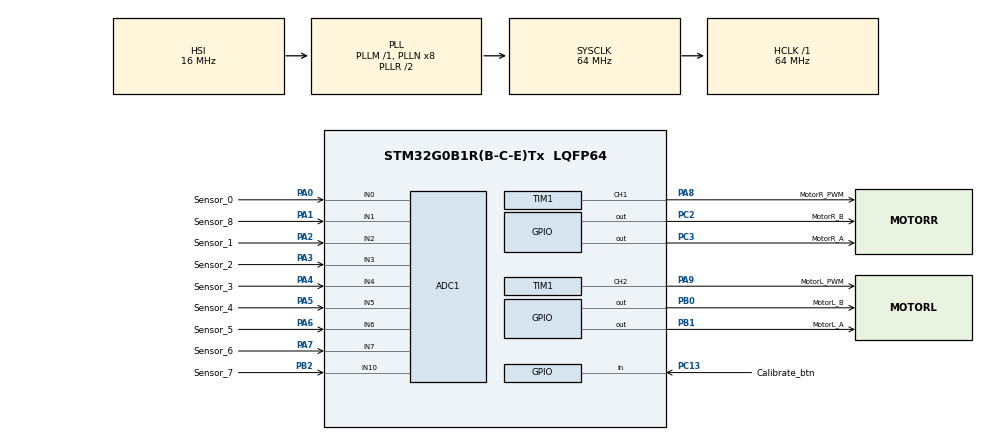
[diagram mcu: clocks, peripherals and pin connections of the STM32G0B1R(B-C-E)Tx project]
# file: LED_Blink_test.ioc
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ADC1.Channel-1\#ChannelRegularConversion=ADC_CHANNEL_0
ADC1.NbrOfConversion=1
ADC1.NbrOfConversionFlag=1
ADC1.Rank-1\#ChannelRegularConversion=1
ADC1.SamplingTime-1\#ChannelRegularConversion=ADC_SAMPLINGTIME_COMMON_1
ADC1.SelectedChannel=ADC_CHANNEL_0|ADC_CHANNEL_1|ADC_CHANNEL_2|ADC_CHANNEL_3|ADC_CHANNEL_4|ADC_CHANNEL_5|ADC_CHANNEL_6|ADC_CHANNEL_7|ADC_CHANNEL_10
ADC1.Sequencer=FULLY_CONFIGURABLE
ADC1.master=1
Mcu.Family=STM32G0
Mcu.Name=STM32G0B1R(B-C-E)Tx
Mcu.Package=LQFP64
NVIC.TIM3_TIM4_IRQn=true\:0\:0\:false\:false\:true\:true\:true\:true
PA0.GPIO_Label=Sensor_0
PA0.Mode=IN0
PA0.Signal=ADC1_IN0
PA1.GPIO_Label=Sensor_8
PA1.Mode=IN1
PA1.Signal=ADC1_IN1
PA13.GPIO_Label=TMS
PA13.Mode=Serial_Wire
PA13.Signal=SYS_SWDIO
PA14-BOOT0.GPIO_Label=TCK
PA14-BOOT0.Mode=Serial_Wire
PA14-BOOT0.Signal=SYS_SWCLK
PA2.GPIO_Label=Sensor_1
PA2.Mode=IN2
PA2.Signal=ADC1_IN2
PA3.GPIO_Label=Sensor_2
PA3.Mode=IN3
PA3.Signal=ADC1_IN3
PA4.GPIO_Label=Sensor_3
PA4.Mode=IN4
PA4.Signal=ADC1_IN4
PA5.GPIO_Label=Sensor_4
PA5.Mode=IN5
PA5.Signal=ADC1_IN5
PA6.GPIO_Label=Sensor_5
PA6.Mode=IN6
PA6.Signal=ADC1_IN6
PA7.GPIO_Label=Sensor_6
PA7.Mode=IN7
PA7.Signal=ADC1_IN7
PA8.GPIO_Label=MotorR_PWM
PA8.Signal=S_TIM1_CH1
PA9.GPIO_Label=MotorL_PWM
PA9.Signal=S_TIM1_CH2
PB0.GPIO_Label=MotorL_B
PB0.Signal=GPIO_Output
PB1.GPIO_Label=MotorL_A
PB1.Signal=GPIO_Output
PB2.GPIO_Label=Sensor_7
PB2.Mode=IN10
PB2.Signal=ADC1_IN10
PC13.GPIO_Label=Calibrate_btn
PC13.GPIO_PuPd=GPIO_PULLUP
PC13.Signal=GPIO_Input
PC14-OSC32_IN\ (PC14).Mode=LSE-External-Oscillator
PC14-OSC32_IN\ (PC14).Signal=RCC_OSC32_IN
PC15-OSC32_OUT\ (PC15).Mode=LSE-External-Oscillator
PC15-OSC32_OUT\ (PC15).Signal=RCC_OSC32_OUT
PC2.GPIO_Label=MotorR_B
PC2.Signal=GPIO_Output
PC3.GPIO_Label=MotorR_A
PC3.Signal=GPIO_Output
PF0-OSC_IN\ (PF0).GPIO_Label=MCO
PF0-OSC_IN\ (PF0).Mode=HSE-External-Clock-Source
PF0-OSC_IN\ (PF0).Signal=RCC_OSC_IN
ProjectManager.HeapSize=0x200
ProjectManager.StackSize=0x400
ProjectManager.TargetToolchain=STM32CubeIDE
RCC.ADCFreq_Value=64000000
RCC.AHBFreq_Value=64000000
RCC.CortexFreq_Value=64000000
RCC.EXTERNAL_CLOCK_VALUE=12288000
RCC.HCLKFreq_Value=64000000
RCC.HSE_VALUE=8000000
RCC.HSI48_VALUE=48000000
RCC.HSI_VALUE=16000000
RCC.SYSCLKFreq_VALUE=64000000
RCC.SYSCLKSource=RCC_SYSCLKSOURCE_PLLCLK
RCC.USBFreq_Value=48000000
RCC.VCOOutputFreq_Value=128000000
SH.S_TIM1_CH1.0=TIM1_CH1,PWM Generation1 CH1
SH.S_TIM1_CH2.0=TIM1_CH2,PWM Generation2 CH2
TIM1.Channel-PWM\ Generation1\ CH1=TIM_CHANNEL_1
TIM1.Channel-PWM\ Generation2\ CH2=TIM_CHANNEL_2
TIM1.Period=625
TIM1.Prescaler=127
TIM3.Period=10000
TIM3.Prescaler=6400-1
VP_SYS_VS_DBSignals.Mode=DisableDeadBatterySignals
VP_TIM1_VS_ClockSourceINT.Mode=Internal
VP_TIM3_VS_ClockSourceINT.Mode=Internal
board=NUCLEO-G0B1RE

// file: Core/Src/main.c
/* USER CODE BEGIN Header */
/**
  ******************************************************************************
  * @file           : main.c
  * @brief          : Main program body
  ******************************************************************************
  * @attention
  *
  * Copyright (c) 2024 STMicroelectronics.
  * All rights reserved.
  *
  * This software is licensed under terms that can be found in the LICENSE file
  * in the root directory of this software component.
  * If no LICENSE file comes with this software, it is provided AS-IS.
  *
  ******************************************************************************
  */
/* USER CODE END Header */
#include "main.h"

ADC_HandleTypeDef hadc1;

TIM_HandleTypeDef htim1;
TIM_HandleTypeDef htim3;

/* USER CODE BEGIN PV */

ADC_ChannelConfTypeDef sConfigPrivate = {0};

volatile uint32_t millis_counter = 0;

/* USER CODE END PV */

void SystemClock_Config(void);
static void MX_GPIO_Init(void);
static void MX_TIM1_Init(void);
static void MX_ADC1_Init(void);
static void MX_TIM3_Init(void);
/* USER CODE BEGIN PFP */

void motor(int motor,int direction);
void speed(int Left, int Right);
void updateIR();
void calibrate();

/* USER CODE END PFP */

/* USER CODE BEGIN 0 */

#define MotorR_PWM TIM_CHANNEL_1
#define MotorL_PWM TIM_CHANNEL_2

#define Motor_RF_pin MotorR_B_Pin
#define Motor_RB_pin MotorR_A_Pin

#define Motor_RF_gpio MotorR_B_GPIO_Port
#define Motor_RB_gpio MotorR_A_GPIO_Port

#define Motor_LF_pin MotorL_B_Pin
#define Motor_LB_pin MotorL_A_Pin

#define Motor_LF_gpio MotorL_B_GPIO_Port
#define Motor_LB_gpio MotorL_A_GPIO_Port

#define left 0
#define right 1

#define Forward 1
#define Backward -1

#define Calibrate_btn GPIO_PIN_13

#define IR_ARRAY_LENGTH 9

int IR_array[IR_ARRAY_LENGTH] = {0};

int button = 1;

int digital_IR[IR_ARRAY_LENGTH] = {0};

int Ir_thresholds[IR_ARRAY_LENGTH] = {2099,1840,2816,2021,1767,1914,1878,1757,2061};

// PID parameters for Line Following
double Kp = 10;
double Ki = 11;
double Kd = 7;

int Drive_constant = 200;

// Initialize PID variables
double prevError = 0;
double integral = 0;
double derivative = 0;

/* USER CODE END 0 */

int main(void)
{

  /* MCU Configuration--------------------------------------------------------*/

  /* Reset of all peripherals, Initializes the Flash interface and the Systick. */
  HAL_Init();

  /* Configure the system clock */
  SystemClock_Config();

  /* Initialize all configured peripherals */
  MX_GPIO_Init();
  MX_TIM1_Init();
  MX_ADC1_Init();
  MX_TIM3_Init();
  /* USER CODE BEGIN 2 */
  HAL_TIM_PWM_Start(&htim1, MotorR_PWM);
  HAL_TIM_PWM_Start(&htim1, MotorL_PWM);

  HAL_TIM_Base_Start_IT(&htim3);

  HAL_ADC_Start(&hadc1);

  sConfigPrivate.Rank = ADC_REGULAR_RANK_1;
  sConfigPrivate.SamplingTime = ADC_SAMPLETIME_1CYCLE_5;

  /* USER CODE END 2 */

  /* Infinite loop */
  /* USER CODE BEGIN WHILE */
  while (1)
  {

	  speed(255,255);

	  motor(left, Forward);
	  motor(right, Backward);

//	  updateIR();
//
//	  button = HAL_GPIO_ReadPin(GPIOC,Calibrate_btn);
//
//	  if(button == RESET){
//		calibrate();
//	  }
//
////	  motor(left, Forward);
////	  motor(right, Forward);
//
//	  int array_lit_amount = 0;
//	  for (int i = 0; i < IR_ARRAY_LENGTH; i++)
//	  {
//		  array_lit_amount += digital_IR[i];
//	  }
//
//	  float left_sum = -20  * digital_IR[0] - 11 * digital_IR[1] - 6 * digital_IR[2] - 1 * digital_IR[3];
//	  float right_sum = 1 * digital_IR[5] + 6 * digital_IR[6] + 11 * digital_IR[7] + 20 * digital_IR[8];
//
//	  int position = left_sum + right_sum;
//
//	  int derivative = position - prevError;
//
//	  int PID_constant = Kp * position + Kd * derivative;
//
//	  prevError = position;
//
//	  Drive_constant = 200;
//
//	  int offset = 0; // For correcting motor speeds
//	  int Left_drive = Drive_constant + offset - PID_constant;
//	  int Right_drive = Drive_constant - offset + PID_constant;
//
//	  const int MIN_VALUE = -200;
//	  const int MAX_VALUE = 200;
//
//	  if (Left_drive < MIN_VALUE) {
//		  Left_drive = MIN_VALUE;
//	  } else if (Left_drive > MAX_VALUE) {
//		  Left_drive = MAX_VALUE;
//	  }
//
//	  if (Right_drive < MIN_VALUE) {
//		  Right_drive = MIN_VALUE;
//	  } else if (Right_drive > MAX_VALUE) {
//		  Right_drive = MAX_VALUE;
//	  }
//
//	  if(Right_drive < 0){
//		  motor(right, Backward);
//	  } else {
//		  motor(right, Forward);
//	  }
//
//
//	  if(Left_drive < 0){
//		  motor(left, Backward);
//	  } else {
//		  motor(left, Forward);
//	  }
//
//
//	  speed(abs(Left_drive), abs(Right_drive));

//	  speed(200, 200);
//
//	  motor(left, Forward);
//	  motor(right, Backward);

//	  sConfigPrivate.Channel = ADC_CHANNEL_0;
//	  HAL_ADC_ConfigChannel(&hadc1, &sConfigPrivate);
//
//	  HAL_ADC_Start(&hadc1);
//	  HAL_ADC_PollForConversion(&hadc1,1000);
//	  Digital_array[0] = HAL_ADC_GetValue(&hadc1)<3200;
//	  HAL_ADC_Stop(&hadc1);
//
//	  sConfigPrivate.Channel = ADC_CHANNEL_1;
//	  HAL_ADC_ConfigChannel(&hadc1, &sConfigPrivate);
//
//	  HAL_ADC_Start(&hadc1);
//	  HAL_ADC_PollForConversion(&hadc1,1000);
//	  Digital_array[1] = HAL_ADC_GetValue(&hadc1)<3200;
//	  HAL_ADC_Stop(&hadc1);

//	  __HAL_TIM_SET_COMPARE(&htim1, MotorR_PWM, 200);
//	  __HAL_TIM_SET_COMPARE(&htim1, MotorL_PWM, 200);
//
//	  if (Digital_array[0] == Digital_array[1]){
//		  	  // Set Right motor forward
//		  	  HAL_GPIO_WritePin(MotorR_A_GPIO_Port, MotorR_A_Pin, GPIO_PIN_RESET);
//		  	  HAL_GPIO_WritePin(MotorR_B_GPIO_Port, MotorR_B_Pin, GPIO_PIN_SET);
//
//		  	  // Set Left motor forward
//		  	  HAL_GPIO_WritePin(MotorL_A_GPIO_Port, MotorL_A_Pin, GPIO_PIN_RESET);
//		  	  HAL_GPIO_WritePin(MotorL_B_GPIO_Port, MotorL_B_Pin, GPIO_PIN_SET);
//	  }else{
//		  if(Digital_array[0] == 1){
//			  // Set Left motor forward
//			  HAL_GPIO_WritePin(MotorL_A_GPIO_Port, MotorL_A_Pin, GPIO_PIN_RESET);
//			  HAL_GPIO_WritePin(MotorL_B_GPIO_Port, MotorL_B_Pin, GPIO_PIN_RESET);
//
//			  // Set Right motor forward
//			  HAL_GPIO_WritePin(MotorR_A_GPIO_Port, MotorR_A_Pin, GPIO_PIN_RESET);
//			  HAL_GPIO_WritePin(MotorR_B_GPIO_Port, MotorR_B_Pin, GPIO_PIN_SET);
//		  } else{
//			  // Set Left motor forward
//			  HAL_GPIO_WritePin(MotorL_A_GPIO_Port, MotorL_A_Pin, GPIO_PIN_RESET);
//			  HAL_GPIO_WritePin(MotorL_B_GPIO_Port, MotorL_B_Pin, GPIO_PIN_SET);
//
//			  // Set Right motor forward
//			  HAL_GPIO_WritePin(MotorR_A_GPIO_Port, MotorR_A_Pin, GPIO_PIN_RESET);
//			  HAL_GPIO_WritePin(MotorR_B_GPIO_Port, MotorR_B_Pin, GPIO_PIN_RESET);
//
//		  }
//	  }

//	  // Set Right motor forward
//	  HAL_GPIO_WritePin(MotorR_A_GPIO_Port, MotorR_A_Pin, GPIO_PIN_SET);
//	  HAL_GPIO_WritePin(MotorR_B_GPIO_Port, MotorR_B_Pin, GPIO_PIN_RESET);
//
//	  // Set Left motor forward
//	  HAL_GPIO_WritePin(MotorL_A_GPIO_Port, MotorL_A_Pin, GPIO_PIN_SET);
//	  HAL_GPIO_WritePin(MotorL_B_GPIO_Port, MotorL_B_Pin, GPIO_PIN_RESET);
//
//	  // Change motor speed by updating TIM1 channels
//	  // Set the pulse value according to your speed requirement (between 0 to TIM1->ARR)
//	  __HAL_TIM_SET_COMPARE(&htim1, MotorR_PWM, 100);
//	  __HAL_TIM_SET_COMPARE(&htim1, MotorL_PWM, 100);
//
//	  // Delay for a while
//	  HAL_Delay(1000);
//
//	  // Set Right motor backward
//	  HAL_GPIO_WritePin(MotorR_A_GPIO_Port, MotorR_A_Pin, GPIO_PIN_RESET);
//	  HAL_GPIO_WritePin(MotorR_B_GPIO_Port, MotorR_B_Pin, GPIO_PIN_SET);
//
//	  // Set Left motor backward
//	  HAL_GPIO_WritePin(MotorL_A_GPIO_Port, MotorL_A_Pin, GPIO_PIN_RESET);
//	  HAL_GPIO_WritePin(MotorL_B_GPIO_Port, MotorL_B_Pin, GPIO_PIN_SET);
//
//	  // Change motor speed by updating TIM1 channels
//	  // Set the pulse value according to your speed requirement (between 0 to TIM1->ARR)
//	  __HAL_TIM_SET_COMPARE(&htim1, MotorR_PWM, 255);
//	  __HAL_TIM_SET_COMPARE(&htim1, MotorL_PWM, 255);
//
//	  // Delay for a while
//	  HAL_Delay(1000);
    /* USER CODE END WHILE */

  }
}

void SystemClock_Config(void)
{
  RCC_OscInitTypeDef RCC_OscInitStruct = {0};
  RCC_ClkInitTypeDef RCC_ClkInitStruct = {0};

  /** Configure the main internal regulator output voltage
  */
  HAL_PWREx_ControlVoltageScaling(PWR_REGULATOR_VOLTAGE_SCALE1);

  /** Initializes the RCC Oscillators according to the specified parameters
  * in the RCC_OscInitTypeDef structure.
  */
  RCC_OscInitStruct.OscillatorType = RCC_OSCILLATORTYPE_HSI;
  RCC_OscInitStruct.HSIState = RCC_HSI_ON;
  RCC_OscInitStruct.HSIDiv = RCC_HSI_DIV1;
  RCC_OscInitStruct.HSICalibrationValue = RCC_HSICALIBRATION_DEFAULT;
  RCC_OscInitStruct.PLL.PLLState = RCC_PLL_ON;
  RCC_OscInitStruct.PLL.PLLSource = RCC_PLLSOURCE_HSI;
  RCC_OscInitStruct.PLL.PLLM = RCC_PLLM_DIV1;
  RCC_OscInitStruct.PLL.PLLN = 8;
  RCC_OscInitStruct.PLL.PLLP = RCC_PLLP_DIV2;
  RCC_OscInitStruct.PLL.PLLQ = RCC_PLLQ_DIV2;
  RCC_OscInitStruct.PLL.PLLR = RCC_PLLR_DIV2;
  if (HAL_RCC_OscConfig(&RCC_OscInitStruct) != HAL_OK)
  {
    Error_Handler();
  }

  /** Initializes the CPU, AHB and APB buses clocks
  */
  RCC_ClkInitStruct.ClockType = RCC_CLOCKTYPE_HCLK|RCC_CLOCKTYPE_SYSCLK
                              |RCC_CLOCKTYPE_PCLK1;
  RCC_ClkInitStruct.SYSCLKSource = RCC_SYSCLKSOURCE_PLLCLK;
  RCC_ClkInitStruct.AHBCLKDivider = RCC_SYSCLK_DIV1;
  RCC_ClkInitStruct.APB1CLKDivider = RCC_HCLK_DIV1;

  if (HAL_RCC_ClockConfig(&RCC_ClkInitStruct, FLASH_LATENCY_2) != HAL_OK)
  {
    Error_Handler();
  }
}

static void MX_ADC1_Init(void)
{

  ADC_ChannelConfTypeDef sConfig = {0};

  /** Configure the global features of the ADC (Clock, Resolution, Data Alignment and number of conversion)
  */
  hadc1.Instance = ADC1;
  hadc1.Init.ClockPrescaler = ADC_CLOCK_SYNC_PCLK_DIV2;
  hadc1.Init.Resolution = ADC_RESOLUTION_12B;
  hadc1.Init.DataAlign = ADC_DATAALIGN_RIGHT;
  hadc1.Init.ScanConvMode = ADC_SCAN_DISABLE;
  hadc1.Init.EOCSelection = ADC_EOC_SINGLE_CONV;
  hadc1.Init.LowPowerAutoWait = DISABLE;
  hadc1.Init.LowPowerAutoPowerOff = DISABLE;
  hadc1.Init.ContinuousConvMode = DISABLE;
  hadc1.Init.NbrOfConversion = 1;
  hadc1.Init.DiscontinuousConvMode = DISABLE;
  hadc1.Init.ExternalTrigConv = ADC_SOFTWARE_START;
  hadc1.Init.ExternalTrigConvEdge = ADC_EXTERNALTRIGCONVEDGE_NONE;
  hadc1.Init.DMAContinuousRequests = DISABLE;
  hadc1.Init.Overrun = ADC_OVR_DATA_PRESERVED;
  hadc1.Init.SamplingTimeCommon1 = ADC_SAMPLETIME_1CYCLE_5;
  hadc1.Init.SamplingTimeCommon2 = ADC_SAMPLETIME_1CYCLE_5;
  hadc1.Init.OversamplingMode = DISABLE;
  hadc1.Init.TriggerFrequencyMode = ADC_TRIGGER_FREQ_HIGH;
  if (HAL_ADC_Init(&hadc1) != HAL_OK)
  {
    Error_Handler();
  }

  /** Configure Regular Channel
  */
  sConfig.Channel = ADC_CHANNEL_0;
  sConfig.Rank = ADC_REGULAR_RANK_1;
  sConfig.SamplingTime = ADC_SAMPLINGTIME_COMMON_1;
  if (HAL_ADC_ConfigChannel(&hadc1, &sConfig) != HAL_OK)
  {
    Error_Handler();
  }

}

static void MX_TIM1_Init(void)
{

  TIM_ClockConfigTypeDef sClockSourceConfig = {0};
  TIM_MasterConfigTypeDef sMasterConfig = {0};
  TIM_OC_InitTypeDef sConfigOC = {0};
  TIM_BreakDeadTimeConfigTypeDef sBreakDeadTimeConfig = {0};

  htim1.Instance = TIM1;
  htim1.Init.Prescaler = 127;
  htim1.Init.CounterMode = TIM_COUNTERMODE_UP;
  htim1.Init.Period = 625;
  htim1.Init.ClockDivision = TIM_CLOCKDIVISION_DIV1;
  htim1.Init.RepetitionCounter = 0;
  htim1.Init.AutoReloadPreload = TIM_AUTORELOAD_PRELOAD_DISABLE;
  if (HAL_TIM_Base_Init(&htim1) != HAL_OK)
  {
    Error_Handler();
  }
  sClockSourceConfig.ClockSource = TIM_CLOCKSOURCE_INTERNAL;
  if (HAL_TIM_ConfigClockSource(&htim1, &sClockSourceConfig) != HAL_OK)
  {
    Error_Handler();
  }
  if (HAL_TIM_PWM_Init(&htim1) != HAL_OK)
  {
    Error_Handler();
  }
  sMasterConfig.MasterOutputTrigger = TIM_TRGO_RESET;
  sMasterConfig.MasterOutputTrigger2 = TIM_TRGO2_RESET;
  sMasterConfig.MasterSlaveMode = TIM_MASTERSLAVEMODE_DISABLE;
  if (HAL_TIMEx_MasterConfigSynchronization(&htim1, &sMasterConfig) != HAL_OK)
  {
    Error_Handler();
  }
  sConfigOC.OCMode = TIM_OCMODE_PWM1;
  sConfigOC.Pulse = 0;
  sConfigOC.OCPolarity = TIM_OCPOLARITY_HIGH;
  sConfigOC.OCNPolarity = TIM_OCNPOLARITY_HIGH;
  sConfigOC.OCFastMode = TIM_OCFAST_DISABLE;
  sConfigOC.OCIdleState = TIM_OCIDLESTATE_RESET;
  sConfigOC.OCNIdleState = TIM_OCNIDLESTATE_RESET;
  if (HAL_TIM_PWM_ConfigChannel(&htim1, &sConfigOC, TIM_CHANNEL_1) != HAL_OK)
  {
    Error_Handler();
  }
  if (HAL_TIM_PWM_ConfigChannel(&htim1, &sConfigOC, TIM_CHANNEL_2) != HAL_OK)
  {
    Error_Handler();
  }
  sBreakDeadTimeConfig.OffStateRunMode = TIM_OSSR_DISABLE;
  sBreakDeadTimeConfig.OffStateIDLEMode = TIM_OSSI_DISABLE;
  sBreakDeadTimeConfig.LockLevel = TIM_LOCKLEVEL_OFF;
  sBreakDeadTimeConfig.DeadTime = 0;
  sBreakDeadTimeConfig.BreakState = TIM_BREAK_DISABLE;
  sBreakDeadTimeConfig.BreakPolarity = TIM_BREAKPOLARITY_HIGH;
  sBreakDeadTimeConfig.BreakFilter = 0;
  sBreakDeadTimeConfig.BreakAFMode = TIM_BREAK_AFMODE_INPUT;
  sBreakDeadTimeConfig.Break2State = TIM_BREAK2_DISABLE;
  sBreakDeadTimeConfig.Break2Polarity = TIM_BREAK2POLARITY_HIGH;
  sBreakDeadTimeConfig.Break2Filter = 0;
  sBreakDeadTimeConfig.Break2AFMode = TIM_BREAK_AFMODE_INPUT;
  sBreakDeadTimeConfig.AutomaticOutput = TIM_AUTOMATICOUTPUT_DISABLE;
  if (HAL_TIMEx_ConfigBreakDeadTime(&htim1, &sBreakDeadTimeConfig) != HAL_OK)
  {
    Error_Handler();
  }
  HAL_TIM_MspPostInit(&htim1);

}

static void MX_TIM3_Init(void)
{

  TIM_ClockConfigTypeDef sClockSourceConfig = {0};
  TIM_MasterConfigTypeDef sMasterConfig = {0};

  htim3.Instance = TIM3;
  htim3.Init.Prescaler = 6400-1;
  htim3.Init.CounterMode = TIM_COUNTERMODE_UP;
  htim3.Init.Period = 10000;
  htim3.Init.ClockDivision = TIM_CLOCKDIVISION_DIV1;
  htim3.Init.AutoReloadPreload = TIM_AUTORELOAD_PRELOAD_DISABLE;
  if (HAL_TIM_Base_Init(&htim3) != HAL_OK)
  {
    Error_Handler();
  }
  sClockSourceConfig.ClockSource = TIM_CLOCKSOURCE_INTERNAL;
  if (HAL_TIM_ConfigClockSource(&htim3, &sClockSourceConfig) != HAL_OK)
  {
    Error_Handler();
  }
  sMasterConfig.MasterOutputTrigger = TIM_TRGO_RESET;
  sMasterConfig.MasterSlaveMode = TIM_MASTERSLAVEMODE_DISABLE;
  if (HAL_TIMEx_MasterConfigSynchronization(&htim3, &sMasterConfig) != HAL_OK)
  {
    Error_Handler();
  }

}

static void MX_GPIO_Init(void)
{
  GPIO_InitTypeDef GPIO_InitStruct = {0};

  /* GPIO Ports Clock Enable */
  __HAL_RCC_GPIOC_CLK_ENABLE();
  __HAL_RCC_GPIOF_CLK_ENABLE();
  __HAL_RCC_GPIOA_CLK_ENABLE();
  __HAL_RCC_GPIOB_CLK_ENABLE();

  /*Configure GPIO pin Output Level */
  HAL_GPIO_WritePin(GPIOC, MotorR_B_Pin|MotorR_A_Pin, GPIO_PIN_RESET);

  /*Configure GPIO pin Output Level */
  HAL_GPIO_WritePin(GPIOB, MotorL_B_Pin|MotorL_A_Pin, GPIO_PIN_RESET);

  /*Configure GPIO pin : Calibrate_btn_Pin */
  GPIO_InitStruct.Pin = Calibrate_btn_Pin;
  GPIO_InitStruct.Mode = GPIO_MODE_INPUT;
  GPIO_InitStruct.Pull = GPIO_PULLUP;
  HAL_GPIO_Init(Calibrate_btn_GPIO_Port, &GPIO_InitStruct);

  /*Configure GPIO pins : MotorR_B_Pin MotorR_A_Pin */
  GPIO_InitStruct.Pin = MotorR_B_Pin|MotorR_A_Pin;
  GPIO_InitStruct.Mode = GPIO_MODE_OUTPUT_PP;
  GPIO_InitStruct.Pull = GPIO_NOPULL;
  GPIO_InitStruct.Speed = GPIO_SPEED_FREQ_LOW;
  HAL_GPIO_Init(GPIOC, &GPIO_InitStruct);

  /*Configure GPIO pins : MotorL_B_Pin MotorL_A_Pin */
  GPIO_InitStruct.Pin = MotorL_B_Pin|MotorL_A_Pin;
  GPIO_InitStruct.Mode = GPIO_MODE_OUTPUT_PP;
  GPIO_InitStruct.Pull = GPIO_NOPULL;
  GPIO_InitStruct.Speed = GPIO_SPEED_FREQ_LOW;
  HAL_GPIO_Init(GPIOB, &GPIO_InitStruct);

}

/* USER CODE BEGIN 4 */
void HAL_TIM_PeriodElapsedCallback(TIM_HandleTypeDef *htim) {
  if (htim->Instance == TIM3) {
    millis_counter++;
  }
}

uint32_t millis() {
  return millis_counter;
}

void speed(int Left, int Right){
	  __HAL_TIM_SET_COMPARE(&htim1,MotorR_PWM,Right);
	  __HAL_TIM_SET_COMPARE(&htim1,MotorL_PWM,Left);
}

void motor(int motor,int direction){
	if (motor == 0){
		if (direction == 1){
			HAL_GPIO_WritePin(Motor_LB_gpio, Motor_LB_pin, 0);
			HAL_GPIO_WritePin(Motor_LF_gpio, Motor_LF_pin, 1);
		}else{
			HAL_GPIO_WritePin(Motor_LB_gpio, Motor_LB_pin, 1);
			HAL_GPIO_WritePin(Motor_LF_gpio, Motor_LF_pin, 0);
		}
	}else{
		if (direction == 1){
			HAL_GPIO_WritePin(Motor_RB_gpio, Motor_RB_pin, 0);
			HAL_GPIO_WritePin(Motor_RF_gpio, Motor_RF_pin, 1);
		}else{
			HAL_GPIO_WritePin(Motor_RB_gpio, Motor_RB_pin, 1);
			HAL_GPIO_WritePin(Motor_RF_gpio, Motor_RF_pin, 0);
		}
	}
}

void calibrate()
{

//  motor(right, Backward);
//  motor(left, Forward);
//
//  // Stop motors when calibrating
//  speed(255, 255);

  // make sensor_max_values array of length IR_ARRAY_LENGTH equal to sensor calibration array
  int sensor_max_values[IR_ARRAY_LENGTH] = {0};

  // sensor min values array
  int sensor_min_values[IR_ARRAY_LENGTH] = {0};

  int now_time_for_calibration = millis();

  while (millis() - now_time_for_calibration < 5)
  {

    updateIR();
    uint8_t allZeros = 1;
    for (int i = 0; i < IR_ARRAY_LENGTH; i++)
    {
      if (sensor_max_values[i] != 0)
      {
        allZeros = 0;
        break; // No need to continue checking if we find a non-zero value
      }
    }

    if (allZeros)
    {
      for (int i = 0; i < IR_ARRAY_LENGTH; i++)
      {
        sensor_max_values[i] = IR_array[i];
        sensor_min_values[i] = IR_array[i];
      }
    }

    for (int i = 0; i < IR_ARRAY_LENGTH; i++)
    {
      if (IR_array[i] > sensor_max_values[i])
      {
        sensor_max_values[i] = IR_array[i];
      }
      if (IR_array[i] < sensor_min_values[i])
      {
        sensor_min_values[i] = IR_array[i];
      }
    }
  }

  speed(0, 0);

  for (int i = 0; i < IR_ARRAY_LENGTH; i++)
  {
    Ir_thresholds[i] = (sensor_max_values[i] + sensor_min_values[i]) / 2;
  }

}

void updateIR(){

	  sConfigPrivate.Channel = ADC_CHANNEL_0;
	  HAL_ADC_ConfigChannel(&hadc1, &sConfigPrivate);

	  HAL_ADC_Start(&hadc1);
	  HAL_ADC_PollForConversion(&hadc1,1000);
	  IR_array[0] = HAL_ADC_GetValue(&hadc1);
	  HAL_ADC_Stop(&hadc1);

	  sConfigPrivate.Channel = ADC_CHANNEL_1;
	  HAL_ADC_ConfigChannel(&hadc1, &sConfigPrivate);

	  HAL_ADC_Start(&hadc1);
	  HAL_ADC_PollForConversion(&hadc1,1000);
	  IR_array[8] = HAL_ADC_GetValue(&hadc1);
	  HAL_ADC_Stop(&hadc1);

	  sConfigPrivate.Channel = ADC_CHANNEL_2;
	  HAL_ADC_ConfigChannel(&hadc1, &sConfigPrivate);

	  HAL_ADC_Start(&hadc1);
	  HAL_ADC_PollForConversion(&hadc1,1000);
	  IR_array[1] = HAL_ADC_GetValue(&hadc1);
	  HAL_ADC_Stop(&hadc1);

	  sConfigPrivate.Channel = ADC_CHANNEL_3;
	  HAL_ADC_ConfigChannel(&hadc1, &sConfigPrivate);

	  HAL_ADC_Start(&hadc1);
	  HAL_ADC_PollForConversion(&hadc1,1000);
	  IR_array[2] = HAL_ADC_GetValue(&hadc1);
	  HAL_ADC_Stop(&hadc1);

	  sConfigPrivate.Channel = ADC_CHANNEL_4;
	  HAL_ADC_ConfigChannel(&hadc1, &sConfigPrivate);

	  HAL_ADC_Start(&hadc1);
	  HAL_ADC_PollForConversion(&hadc1,1000);
	  IR_array[3] = HAL_ADC_GetValue(&hadc1);
	  HAL_ADC_Stop(&hadc1);

	  sConfigPrivate.Channel = ADC_CHANNEL_5;
	  HAL_ADC_ConfigChannel(&hadc1, &sConfigPrivate);

	  HAL_ADC_Start(&hadc1);
	  HAL_ADC_PollForConversion(&hadc1,1000);
	  IR_array[4] = HAL_ADC_GetValue(&hadc1);
	  HAL_ADC_Stop(&hadc1);

	  sConfigPrivate.Channel = ADC_CHANNEL_6;
	  HAL_ADC_ConfigChannel(&hadc1, &sConfigPrivate);

	  HAL_ADC_Start(&hadc1);
	  HAL_ADC_PollForConversion(&hadc1,1000);
	  IR_array[5] = HAL_ADC_GetValue(&hadc1);
	  HAL_ADC_Stop(&hadc1);

	  sConfigPrivate.Channel = ADC_CHANNEL_7;
	  HAL_ADC_ConfigChannel(&hadc1, &sConfigPrivate);

	  HAL_ADC_Start(&hadc1);
	  HAL_ADC_PollForConversion(&hadc1,1000);
	  IR_array[6] = HAL_ADC_GetValue(&hadc1);
	  HAL_ADC_Stop(&hadc1);

	  sConfigPrivate.Channel = ADC_CHANNEL_10;
	  HAL_ADC_ConfigChannel(&hadc1, &sConfigPrivate);

	  HAL_ADC_Start(&hadc1);
	  HAL_ADC_PollForConversion(&hadc1,1000);
	  IR_array[7] = HAL_ADC_GetValue(&hadc1);
	  HAL_ADC_Stop(&hadc1);

	  for (int i = 0; i < 9; ++i) {
		  digital_IR[i] = IR_array[i] < Ir_thresholds[i];
	  }

}

/* USER CODE END 4 */

void Error_Handler(void)
{
  __disable_irq();
  while (1)
  {
  }
}
